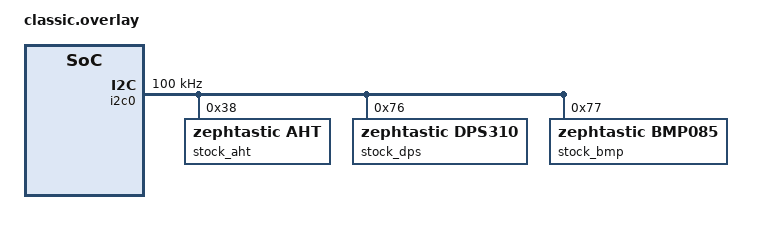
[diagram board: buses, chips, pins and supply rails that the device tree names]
/* Optional external parts at three distinct addresses. */
/ { aliases { zt-aht = &stock_aht; zt-dps310 = &stock_dps; zt-bmp085 = &stock_bmp; }; };
&i2c0 {
    status = "okay";
    clock-frequency = <100000>;
    stock_aht: aht@38 { compatible = "zephtastic,aht"; reg = <0x38>; };
    stock_dps: dps@76 { compatible = "zephtastic,dps310"; reg = <0x76>; };
    stock_bmp: bmp@77 { compatible = "zephtastic,bmp085"; reg = <0x77>; };
};
